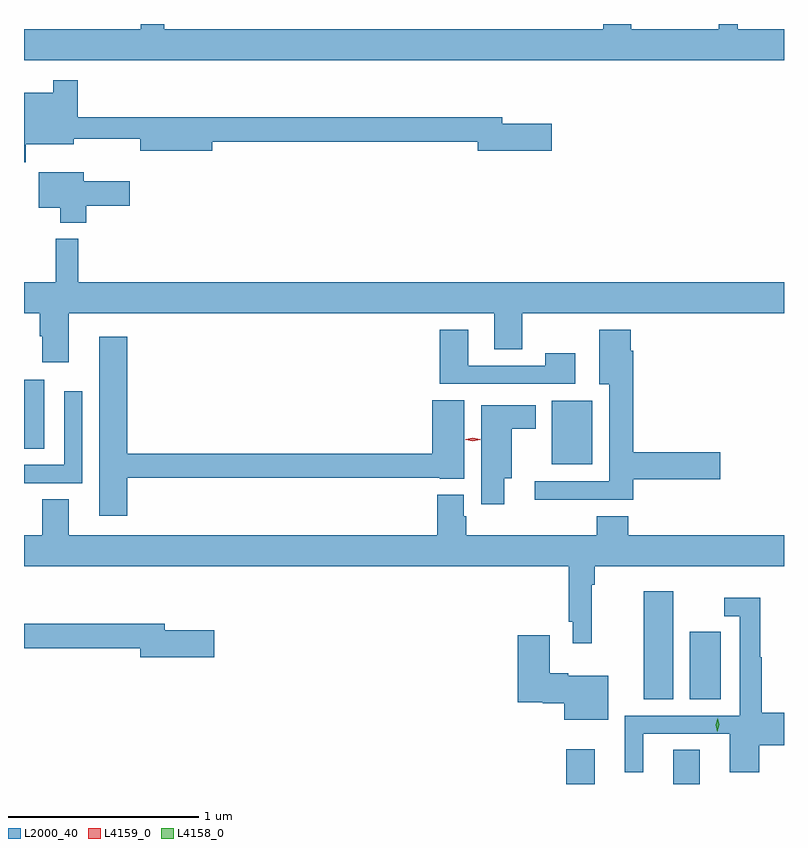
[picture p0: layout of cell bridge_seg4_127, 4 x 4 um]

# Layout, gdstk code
import gdstk
lib = gdstk.Library(unit=1e-6, precision=1e-09)
def R(c, l, rs):  # rectangles x0, y0, x1, y1
    for r in rs: c.add(gdstk.rectangle(r[:2], r[2:], *l))
def P(c, l, *ps):  # polygons
    for p in ps: c.add(gdstk.Polygon(p, *l))
L2000_40 = (2000, 40)
L4158_0 = (4158, 0)
L4159_0 = (4159, 0)

bridge_seg4_127 = lib.new_cell('bridge_seg4_127')
R(bridge_seg4_127, L2000_40, [(343.409,750.387,343.561,750.571), (343.973,750.387,344.113,750.566), (343.817,750.832,343.972,751.402), (344.06,750.832,344.224,751.189), (343.334,752.069,343.546,752.404), (340.556,752.152,340.663,752.515)])
P(bridge_seg4_127, L2000_40, [(344.556,754.36),(344.312,754.36),(344.312,754.387),(344.213,754.387),(344.213,754.36),(343.752,754.36),(343.752,754.387),(343.604,754.387),(343.604,754.36),(341.293,754.36),(341.293,754.387),(341.171,754.387),(341.171,754.36),(340.556,754.36),(340.556,754.196),(344.556,754.196)],
  [(340.565,753.755),(340.819,753.755),(340.819,753.784),(341.168,753.784),(341.168,753.719),(341.548,753.719),(341.548,753.766),(342.944,753.766),(342.944,753.719),(343.333,753.719),(343.333,753.861),(343.072,753.861),(343.072,753.895),(340.838,753.895),(340.838,754.09),(340.71,754.09),(340.71,754.024),(340.556,754.024),(340.556,753.659),(340.565,753.659)],
  [(340.883,753.43),(341.113,753.43),(341.113,753.559),(340.87,753.559),(340.87,753.607),(340.634,753.607),(340.634,753.419),(340.748,753.419),(340.748,753.341),(340.883,753.341)],
  [(340.792,752.864),(343.031,752.864),(343.031,752.674),(343.179,752.674),(343.179,752.864),(344.556,752.864),(344.556,753.028),(340.841,753.028),(340.841,753.256),(340.724,753.256),(340.724,753.028),(340.556,753.028),(340.556,752.864),(340.64,752.864),(340.64,752.744),(340.652,752.744),(340.652,752.607),(340.792,752.607)],
  [(343.763,751.99),(344.221,751.99),(344.221,752.132),(343.763,752.132),(343.763,752.666),(343.75,752.666),(343.75,752.779),(343.583,752.779),(343.583,752.492),(343.637,752.492),(343.637,751.98),(343.245,751.98),(343.245,751.883),(343.763,751.883)],
  [(343.456,752.653),(343.3,752.653),(343.3,752.589),(342.895,752.589),(342.895,752.779),(342.743,752.779),(342.743,752.493),(343.456,752.493)],
  [(341.099,751.998),(342.744,751.998),(342.744,751.994),(342.874,751.994),(342.874,752.408),(342.704,752.408),(342.704,752.126),(341.099,752.126),(341.099,752.74),(340.952,752.74),(340.952,751.8),(341.099,751.8)],
  [(340.863,752.455),(340.767,752.455),(340.767,752.067),(340.556,752.067),(340.556,751.971),(340.863,751.971)],
  [(343.084,751.997),(343.123,751.997),(343.123,752.258),(343.249,752.258),(343.249,752.38),(342.962,752.38),(342.962,751.86),(343.084,751.86)],
  [(343.544,751.436),(343.559,751.436),(343.559,751.532),(344.556,751.532),(344.556,751.696),(343.736,751.696),(343.736,751.795),(343.571,751.795),(343.571,751.696),(342.884,751.696),(342.884,751.797),(342.871,751.797),(342.871,751.909),(342.731,751.909),(342.731,751.696),(340.792,751.696),(340.792,751.886),(340.652,751.886),(340.652,751.696),(340.556,751.696),(340.556,751.532),(343.423,751.532),(343.423,751.24),(343.443,751.24),(343.443,751.128),(343.544,751.128)],
  [(343.816,750.651),(344.27,750.651),(344.27,750.45),(344.427,750.45),(344.427,750.59),(344.556,750.59),(344.556,750.761),(344.438,750.761),(344.438,751.053),(344.431,751.053),(344.431,751.366),(344.241,751.366),(344.241,751.269),(344.322,751.269),(344.322,750.747),(343.718,750.747),(343.718,750.45),(343.816,750.45)],
  [(341.557,751.197),(341.296,751.197),(341.296,751.231),(340.556,751.231),(340.556,751.102),(341.168,751.102),(341.168,751.055),(341.557,751.055)],
  [(343.63,750.958),(343.42,750.958),(343.42,750.971),(343.324,750.971),(343.324,751.171),(343.154,751.171),(343.154,750.818),(343.287,750.818),(343.287,750.811),(343.4,750.811),(343.4,750.725),(343.63,750.725)])
P(bridge_seg4_127, L4158_0, [(344.204,750.663),(344.204,750.663),(344.196,750.699),(344.207,750.734),(344.207,750.734),(344.207,750.734),(344.216,750.698),(344.204,750.663)])
P(bridge_seg4_127, L4159_0, [(342.919,752.19),(342.88,752.2),(342.879,752.2),(342.88,752.201),(342.919,752.21),(342.958,752.201),(342.958,752.2),(342.958,752.2)])

lib.write_gds('bridge_seg4_127.gds')
